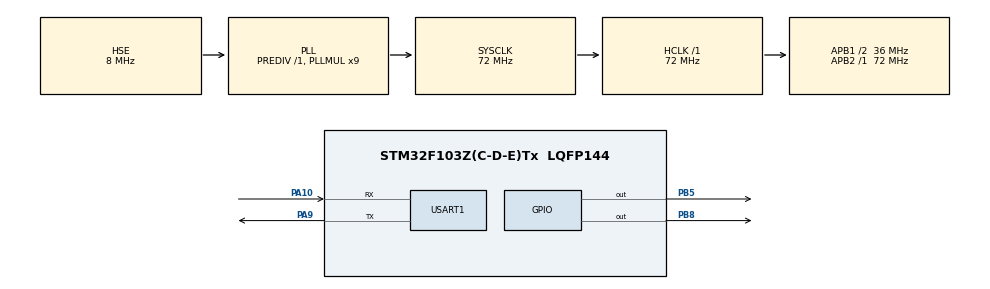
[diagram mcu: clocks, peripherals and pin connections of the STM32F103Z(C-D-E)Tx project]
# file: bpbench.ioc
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Mcu.Family=STM32F1
RCC.PLLSourceVirtual=RCC_PLLSOURCE_HSE
PA10.Mode=Asynchronous
TIM6.Prescaler=72-1
VP_TIM6_VS_ClockSourceINT.Mode=Enable_Timer
RCC.APB1CLKDivider=RCC_HCLK_DIV2
RCC.SYSCLKSource=RCC_SYSCLKSOURCE_PLLCLK
ProjectManager.StackSize=0x400
PA13.Signal=SYS_JTMS-SWDIO
PA9.Mode=Asynchronous
ProjectManager.TargetToolchain=Makefile
RCC.HCLKFreq_Value=72000000
RCC.APB2TimFreq_Value=72000000
PA9.Signal=USART1_TX
OSC_IN.Signal=RCC_OSC_IN
RCC.USBFreq_Value=72000000
OSC_OUT.Mode=HSE-External-Oscillator
OSC_OUT.Signal=RCC_OSC_OUT
RCC.AHBFreq_Value=72000000
board=custom
RCC.PLLMUL=RCC_PLL_MUL9
RCC.APB2Freq_Value=72000000
PA14.Mode=Serial_Wire
PA13.Mode=Serial_Wire
Mcu.Name=STM32F103Z(C-D-E)Tx
RCC.SYSCLKFreq_VALUE=72000000
Mcu.Package=LQFP144
PB5.Signal=GPIO_Output
OSC_IN.Mode=HSE-External-Oscillator
USART1.VirtualMode=VM_ASYNC
PA10.Signal=USART1_RX
PA14.Signal=SYS_JTCK-SWCLK
ProjectManager.HeapSize=0x200
NVIC.PriorityGroup=NVIC_PRIORITYGROUP_4
RCC.APB1TimFreq_Value=72000000
PB8.Signal=GPIO_Output
RCC.APB1Freq_Value=36000000

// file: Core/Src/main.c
/* USER CODE BEGIN Header */
/**
 ******************************************************************************
 * @file           : main.c
 * @brief          : Main program body
 ******************************************************************************
 * @attention
 *
 * <h2><center>&copy; Copyright (c) 2021 STMicroelectronics.
 * All rights reserved.</center></h2>
 *
 * This software component is licensed by ST under BSD 3-Clause license,
 * the "License"; You may not use this file except in compliance with the
 * License. You may obtain a copy of the License at:
 *                        opensource.org/licenses/BSD-3-Clause
 *
 ******************************************************************************
 */
/* USER CODE END Header */
#include "main.h"

#include <stdarg.h>
#include <stdbool.h>
#include <stdio.h>

#include "drone_bp.h"

TIM_HandleTypeDef htim6;

UART_HandleTypeDef huart1;

void SystemClock_Config(void);
static void MX_GPIO_Init(void);
static void MX_TIM6_Init(void);
static void MX_USART1_UART_Init(void);

/* USER CODE BEGIN 0 */

void soft_assert(bool v) {
    if (!v) simple_printf("assert failed !!!!!!!!!!!!!!!!!!!!\r\n");
}

// Printf to uart1.
void simple_printf(const char *fmt, ...) {
    char buf[512] = {0};

    int n = 0;
    va_list va;
    va_start(va, fmt);
    n += vsprintf(buf, fmt, va);
    va_end(va);

    HAL_UART_Transmit(&huart1, (uint8_t *)buf, n, 1000);
}

// Benchmark encode.
void bench_encode(int n, unsigned char *s) {
    struct Drone drone = {0};

    int start = HAL_GetTick();  // ms
    for (int i = 0; i < n; i++) {
        EncodeDrone(&drone, s);
    }
    int end = HAL_GetTick();
    int cost = end - start;
#ifdef BITPROTO_OPTIMIZATION_MODE
    simple_printf(
        "[optimization mode] called encode %d times, total %dms, per encode "
        "%dus\r\n",
        n, cost, 1000 * cost / n);
#else
    simple_printf(
        "[standard mode] called encode %d times, total %dms, per encode "
        "%dus\r\n",
        n, cost, 1000 * cost / n);
#endif
}

// Benchmark decode.
void bench_decode(int n, unsigned char *s) {
    struct Drone drone_new = {0};

    int start = HAL_GetTick();  // ms
    for (int i = 0; i < n; i++) {
        DecodeDrone(&drone_new, s);
    }
    int end = HAL_GetTick();
    int cost = end - start;
#ifdef BITPROTO_OPTIMIZATION_MODE
    simple_printf(
        "[optimization mode] called decode %d times, total %dms, per decode "
        "%dus\r\n",
        n, cost, 1000 * cost / n);
#else
    simple_printf(
        "[standard mode] called decode %d times, total %dms, per decode "
        "%dus\r\n",
        n, cost, 1000 * cost / n);
#endif
}

void bench() {
    int n = 10000;  // Benchmark count.
    unsigned char s[BYTES_LENGTH_DRONE] = {0};

    bench_encode(n, s);
    bench_decode(n, s);
}

void simple_test() {
    struct Drone drone = {0};

    drone.status = DRONE_STATUS_RISING;
    drone.position.longitude = 2000;
    drone.position.latitude = 2000;
    drone.position.altitude = 1080;
    drone.flight.acceleration[0] = -1001;
    drone.power.is_charging = false;
    drone.propellers[0].direction = ROTATING_DIRECTION_CLOCK_WISE;
    drone.pressure_sensor.pressures[0] = -11;

    unsigned char s[BYTES_LENGTH_DRONE] = {0};

    EncodeDrone(&drone, s);

    unsigned char s_expected[BYTES_LENGTH_DRONE] = {
        0x82, 0x3E, 0x00, 0x00, 0x80, 0x3E, 0x00, 0x00, 0xC0, 0x21, 0x00, 0x00,
        0x00, 0x00, 0x00, 0x00, 0x00, 0x00, 0x00, 0x00, 0x00, 0x00, 0x00, 0x00,
        0x00, 0x00, 0x00, 0x00, 0x00, 0x00, 0x00, 0x00, 0x00, 0x00, 0x00, 0x00,
        0xB8, 0xE0, 0xFF, 0xFF, 0x07, 0x00, 0x00, 0x00, 0x00, 0x00, 0x00, 0x00,
        0x00, 0x20, 0x00, 0x00, 0x00, 0x00, 0x00, 0x00, 0x00, 0x00, 0x00, 0x00,
        0x50, 0xFF, 0xFF, 0x0F, 0x00, 0x00, 0x00};

    for (int i = 0; i < BYTES_LENGTH_DRONE; i++)
        soft_assert(s_expected[i] == s[i]);

    struct Drone drone_new = {0};
    DecodeDrone(&drone_new, s);

    soft_assert(drone.status == drone_new.status);
    soft_assert(drone.position.longitude == drone_new.position.longitude);
    soft_assert(drone.position.latitude == drone_new.position.latitude);
    soft_assert(drone.position.altitude == drone_new.position.altitude);
    soft_assert(drone.flight.acceleration[0] ==
                drone_new.flight.acceleration[0]);
    soft_assert(drone.power.is_charging == drone_new.power.is_charging);
    soft_assert(drone.propellers[0].direction ==
                drone_new.propellers[0].direction);
    soft_assert(drone.pressure_sensor.pressures[0] ==
                drone_new.pressure_sensor.pressures[0]);

    simple_printf("simple test finished\r\n");
}

/* USER CODE END 0 */

int main(void) {

    /* MCU
     * Configuration--------------------------------------------------------*/

    /* Reset of all peripherals, Initializes the Flash interface and the
     * Systick.
     */
    HAL_Init();

    /* Configure the system clock */
    SystemClock_Config();

    /* Initialize all configured peripherals */
    MX_GPIO_Init();
    MX_TIM6_Init();
    MX_USART1_UART_Init();

    /* Infinite loop */
    /* USER CODE BEGIN WHILE */
    simple_test();

    while (1) {
        /* USER CODE END WHILE */
        HAL_GPIO_TogglePin(GPIOB, GPIO_PIN_5);
        HAL_Delay(1000);
        bench();
    }
}

void SystemClock_Config(void) {
    RCC_OscInitTypeDef RCC_OscInitStruct = {0};
    RCC_ClkInitTypeDef RCC_ClkInitStruct = {0};

    /** Initializes the RCC Oscillators according to the specified parameters
     * in the RCC_OscInitTypeDef structure.
     */
    RCC_OscInitStruct.OscillatorType = RCC_OSCILLATORTYPE_HSE;
    RCC_OscInitStruct.HSEState = RCC_HSE_ON;
    RCC_OscInitStruct.HSEPredivValue = RCC_HSE_PREDIV_DIV1;
    RCC_OscInitStruct.HSIState = RCC_HSI_ON;
    RCC_OscInitStruct.PLL.PLLState = RCC_PLL_ON;
    RCC_OscInitStruct.PLL.PLLSource = RCC_PLLSOURCE_HSE;
    RCC_OscInitStruct.PLL.PLLMUL = RCC_PLL_MUL9;
    if (HAL_RCC_OscConfig(&RCC_OscInitStruct) != HAL_OK) {
        Error_Handler();
    }
    /** Initializes the CPU, AHB and APB buses clocks
     */
    RCC_ClkInitStruct.ClockType = RCC_CLOCKTYPE_HCLK | RCC_CLOCKTYPE_SYSCLK |
                                  RCC_CLOCKTYPE_PCLK1 | RCC_CLOCKTYPE_PCLK2;
    RCC_ClkInitStruct.SYSCLKSource = RCC_SYSCLKSOURCE_PLLCLK;
    RCC_ClkInitStruct.AHBCLKDivider = RCC_SYSCLK_DIV1;
    RCC_ClkInitStruct.APB1CLKDivider = RCC_HCLK_DIV2;
    RCC_ClkInitStruct.APB2CLKDivider = RCC_HCLK_DIV1;

    if (HAL_RCC_ClockConfig(&RCC_ClkInitStruct, FLASH_LATENCY_2) != HAL_OK) {
        Error_Handler();
    }
}

static void MX_TIM6_Init(void) {

    TIM_MasterConfigTypeDef sMasterConfig = {0};

    htim6.Instance = TIM6;
    htim6.Init.Prescaler = 72 - 1;
    htim6.Init.CounterMode = TIM_COUNTERMODE_UP;
    htim6.Init.Period = 65535;
    htim6.Init.AutoReloadPreload = TIM_AUTORELOAD_PRELOAD_DISABLE;
    if (HAL_TIM_Base_Init(&htim6) != HAL_OK) {
        Error_Handler();
    }
    sMasterConfig.MasterOutputTrigger = TIM_TRGO_RESET;
    sMasterConfig.MasterSlaveMode = TIM_MASTERSLAVEMODE_DISABLE;
    if (HAL_TIMEx_MasterConfigSynchronization(&htim6, &sMasterConfig) !=
        HAL_OK) {
        Error_Handler();
    }
}

static void MX_USART1_UART_Init(void) {

    huart1.Instance = USART1;
    huart1.Init.BaudRate = 115200;
    huart1.Init.WordLength = UART_WORDLENGTH_8B;
    huart1.Init.StopBits = UART_STOPBITS_1;
    huart1.Init.Parity = UART_PARITY_NONE;
    huart1.Init.Mode = UART_MODE_TX_RX;
    huart1.Init.HwFlowCtl = UART_HWCONTROL_NONE;
    huart1.Init.OverSampling = UART_OVERSAMPLING_16;
    if (HAL_UART_Init(&huart1) != HAL_OK) {
        Error_Handler();
    }
}

static void MX_GPIO_Init(void) {
    GPIO_InitTypeDef GPIO_InitStruct = {0};

    /* GPIO Ports Clock Enable */
    __HAL_RCC_GPIOA_CLK_ENABLE();
    __HAL_RCC_GPIOB_CLK_ENABLE();

    /*Configure GPIO pin Output Level */
    HAL_GPIO_WritePin(GPIOB, GPIO_PIN_5 | GPIO_PIN_8, GPIO_PIN_RESET);

    /*Configure GPIO pins : PB5 PB8 */
    GPIO_InitStruct.Pin = GPIO_PIN_5 | GPIO_PIN_8;
    GPIO_InitStruct.Mode = GPIO_MODE_OUTPUT_PP;
    GPIO_InitStruct.Pull = GPIO_NOPULL;
    GPIO_InitStruct.Speed = GPIO_SPEED_FREQ_LOW;
    HAL_GPIO_Init(GPIOB, &GPIO_InitStruct);
}

void Error_Handler(void) {
    /* USER CODE BEGIN Error_Handler_Debug */
    /* User can add his own implementation to report the HAL error return state
     */
    __disable_irq();
    while (1) {
    }
    /* USER CODE END Error_Handler_Debug */
}

#ifdef USE_FULL_ASSERT
/**
 * @brief  Reports the name of the source file and the source line number
 *         where the assert_param error has occurred.
 * @param  file: pointer to the source file name
 * @param  line: assert_param error line source number
 * @retval None
 */
void assert_failed(uint8_t *file, uint32_t line) {
    /* USER CODE BEGIN 6 */
    /* User can add his own implementation to report the file name and line
       number,
       ex: printf("Wrong parameters value: file %s on line %d\r\n", file, line)
     */
    /* USER CODE END 6 */
}
#endif /* USE_FULL_ASSERT */

/************************ (C) COPYRIGHT STMicroelectronics *****END OF FILE****/
